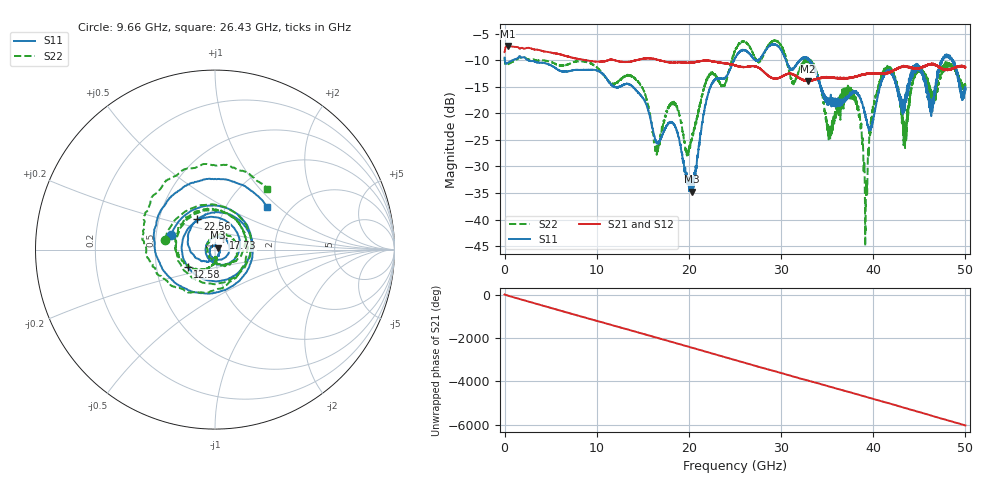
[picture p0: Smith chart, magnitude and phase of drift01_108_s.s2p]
!Created with skrf (http://scikit-rf.org).
# Hz S RI R 50.0
!freq ReS11 ImS11 ReS21 ImS21 ReS12 ImS12 ReS22 ImS22
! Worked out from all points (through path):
!   10001 points, 300 kHz to 50 GHz, reference 50 ohm
!   highest |S21| = -7.33 dB at 320.3 MHz (marker M1); lowest = -13.9 dB at 32.94 GHz (marker M2)
!   group delay of S21, straight-line fit = 335 ps
!   lowest |S11| = -34.7 dB at 20.32 GHz (marker M3), VSWR 1.04, Z = 51.4 + j1.17 ohm
!   |S11| at or under -10 dB: 2.556 GHz to 24.9 GHz (22.34 GHz wide, 163 % of centre); 30.53 GHz to 32.02 GHz (1.484 GHz wide, 4.75 % of centre); 33.07 GHz to 47.44 GHz (14.37 GHz wide, 35.7 % of centre) (the widest 3 of 22)
!   |S22| runs from -45.0 to -6.3 dB; largest |S21 - S12| = 0.012
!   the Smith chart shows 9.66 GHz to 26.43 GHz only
!   S11 on the Smith chart (normalised r, x): 9.66 GHz: 0.60, +0.10; 12.58 GHz: 0.72, -0.14; 17.73 GHz: 1.09, +0.14; 22.56 GHz: 0.78, +0.27; 26.43 GHz: 1.54, +0.85
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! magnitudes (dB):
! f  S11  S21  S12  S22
! 300 kHz  -9.5  -8.4  -8.5  -9.5
! 320.3 MHz  -10.5  -7.3  -7.3  -10.9
! 8.335 GHz  -11.8  -9.9  -9.8  -10.2
! 9.66 GHz  -11.8  -10.2  -10.2  -10.9
! 12.58 GHz  -14.9  -10.3  -10.3  -13.7
! 16.67 GHz  -25.7  -9.9  -9.9  -27.1
! 17.73 GHz  -22.1  -10.4  -10.3  -18.8
! 20.32 GHz  -34.7  -10.4  -10.4  -24.7
! 22.56 GHz  -14.2  -10.2  -10.2  -12.3
! 25 GHz  -9.6  -11.0  -11.0  -8.3
! 26.43 GHz  -8.5  -11.2  -11.2  -7.0
! 32.94 GHz  -9.9  -13.9  -13.9  -10.4
! 33.34 GHz  -10.7  -13.8  -13.8  -10.5
! 35.25 GHz  -17.3  -13.3  -13.3  -23.0
! 37.99 GHz  -16.0  -13.2  -13.1  -17.1
! 39.17 GHz  -20.5  -12.7  -12.7  -41.3
! 40.14 GHz  -20.0  -12.5  -12.5  -18.2
! 41.67 GHz  -12.0  -12.2  -12.3  -11.9
! 43.45 GHz  -18.0  -11.2  -11.3  -26.9
! 44.89 GHz  -11.2  -11.5  -11.5  -11.7
! 46.28 GHz  -18.3  -10.6  -10.6  -17.4
! 50 GHz  -15.7  -11.3  -11.3  -15.1
